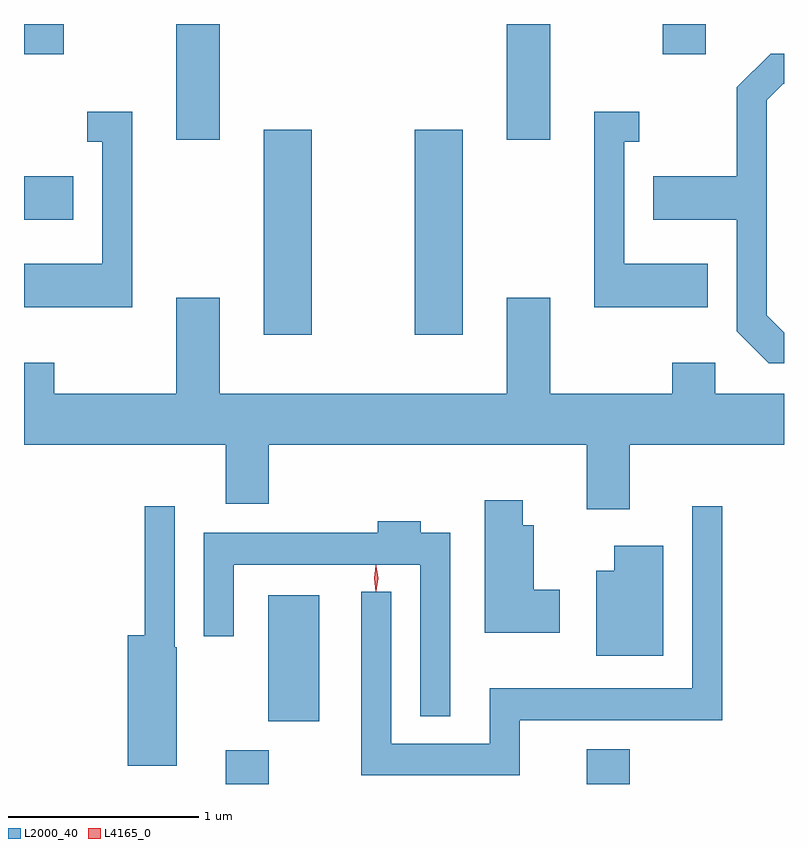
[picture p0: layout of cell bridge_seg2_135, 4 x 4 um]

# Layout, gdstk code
import gdstk
lib = gdstk.Library(unit=1e-6, precision=1e-09)
def R(c, l, rs):  # rectangles x0, y0, x1, y1
    for r in rs: c.add(gdstk.rectangle(r[:2], r[2:], *l))
def P(c, l, *ps):  # polygons
    for p in ps: c.add(gdstk.Polygon(p, *l))
L2000_40 = (2000, 40)
L4165_0 = (4165, 0)

bridge_seg2_135 = lib.new_cell('bridge_seg2_135')
R(bridge_seg2_135, L2000_40, [(1024.601,1110.911,1024.829,1111.089), (1026.501,1110.911,1026.729,1111.094), (1024.826,1111.241,1025.094,1111.904), (1024.801,1113.276,1025.054,1114.354), (1025.596,1113.276,1025.849,1114.354), (1023.54,1113.881,1023.799,1114.109), (1024.341,1114.301,1024.569,1114.911), (1026.081,1114.301,1026.309,1114.911), (1023.54,1114.751,1023.749,1114.911), (1026.901,1114.751,1027.129,1114.911)])
P(bridge_seg2_135, L2000_40, [(1027.54,1113.286),(1027.449,1113.377),(1027.449,1114.509),(1027.536,1114.596),(1027.54,1114.596),(1027.54,1114.754),(1027.469,1114.754),(1027.291,1114.577),(1027.291,1114.109),(1026.851,1114.109),(1026.851,1113.881),(1027.291,1113.881),(1027.291,1113.294),(1027.459,1113.126),(1027.54,1113.126)],
  [(1027.139,1113.649),(1026.699,1113.649),(1026.699,1114.291),(1026.777,1114.291),(1026.777,1114.449),(1026.541,1114.449),(1026.541,1113.421),(1027.139,1113.421)],
  [(1024.109,1114.449),(1023.873,1114.449),(1023.873,1114.291),(1023.951,1114.291),(1023.951,1113.649),(1023.54,1113.649),(1023.54,1113.421),(1024.109,1113.421)],
  [(1026.729,1112.696),(1027.54,1112.696),(1027.54,1112.964),(1027.179,1112.964),(1027.179,1113.129),(1026.951,1113.129),(1026.951,1112.964),(1026.309,1112.964),(1026.309,1113.469),(1026.081,1113.469),(1026.081,1112.964),(1024.569,1112.964),(1024.569,1113.469),(1024.341,1113.469),(1024.341,1112.964),(1023.699,1112.964),(1023.699,1113.129),(1023.54,1113.129),(1023.54,1112.696),(1024.601,1112.696),(1024.601,1112.386),(1024.829,1112.386),(1024.829,1112.696),(1026.501,1112.696),(1026.501,1112.356),(1026.729,1112.356)],
  [(1026.359,1111.934),(1026.224,1111.934),(1026.224,1112.274),(1026.164,1112.274),(1026.164,1112.404),(1025.966,1112.404),(1025.966,1111.706),(1026.359,1111.706)],
  [(1024.344,1111.63),(1024.334,1111.63),(1024.334,1112.373),(1024.176,1112.373),(1024.176,1111.694),(1024.086,1111.694),(1024.086,1111.006),(1024.344,1111.006)],
  [(1026.149,1111.246),(1027.214,1111.246),(1027.214,1112.373),(1027.056,1112.373),(1027.056,1111.414),(1025.991,1111.414),(1025.991,1111.124),(1025.474,1111.124),(1025.474,1111.923),(1025.316,1111.923),(1025.316,1110.956),(1026.149,1110.956)],
  [(1025.784,1112.234),(1025.629,1112.234),(1025.629,1112.294),(1025.401,1112.294),(1025.401,1112.234),(1024.486,1112.234),(1024.486,1111.688),(1024.644,1111.688),(1024.644,1112.066),(1025.626,1112.066),(1025.626,1111.268),(1025.784,1111.268)],
  [(1026.904,1112.164),(1026.646,1112.164),(1026.646,1112.034),(1026.551,1112.034),(1026.551,1111.586),(1026.904,1111.586)])
P(bridge_seg2_135, L4165_0, [(1025.394,1111.927),(1025.394,1111.927),(1025.384,1111.994),(1025.394,1112.06),(1025.394,1112.06),(1025.395,1112.06),(1025.404,1111.994),(1025.395,1111.927)],
  [(1025.392,1111.924),(1025.383,1111.993),(1025.392,1112.062),(1025.393,1112.063),(1025.393,1112.062),(1025.403,1111.993),(1025.393,1111.924),(1025.393,1111.924)])

lib.write_gds('bridge_seg2_135.gds')
